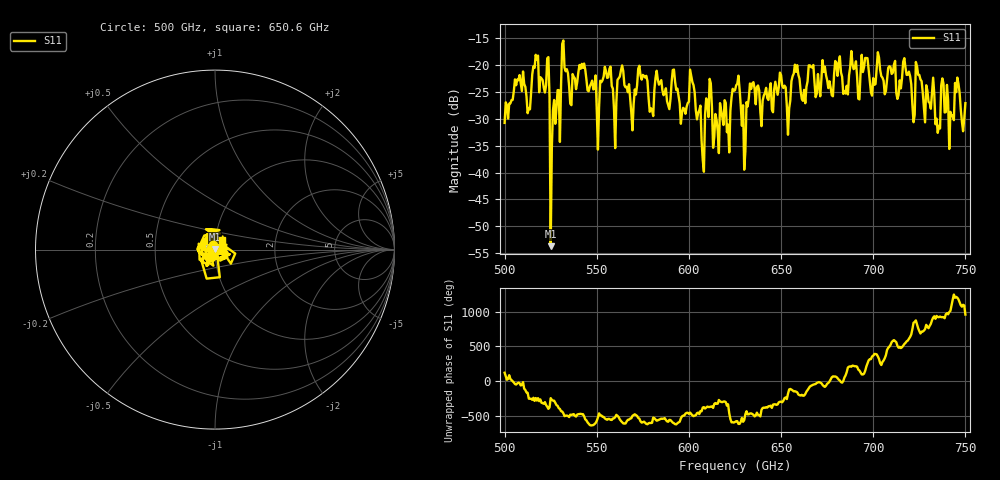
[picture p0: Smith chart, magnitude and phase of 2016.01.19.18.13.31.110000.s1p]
!Created with skrf (http://scikit-rf.org).
# GHz S RI R 50.0
!freq ReS11 ImS11
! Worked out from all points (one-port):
!   401 points, 500 GHz to 750 GHz, reference 50 ohm
!   lowest |S11| = -53.7 dB at 525 GHz (marker M1), VSWR 1.00, Z = 49.9 + j0.191 ohm
!   |S11| at or under -10 dB: start of sweep to end of sweep
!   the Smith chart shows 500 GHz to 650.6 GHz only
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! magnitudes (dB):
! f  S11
! 500 GHz  -30.8
! 506.9 GHz  -22.7
! 513.1 GHz  -28.0
! 516.9 GHz  -18.1
! 523.1 GHz  -18.8
! 525 GHz  -53.7
! 531.2 GHz  -16.1
! 550 GHz  -28.5
! 556.2 GHz  -22.3
! 559.4 GHz  -28.4
! 562.5 GHz  -22.2
! 569.4 GHz  -32.2
! 573.8 GHz  -22.0
! 579.4 GHz  -28.1
! 593.8 GHz  -24.4
! 601.9 GHz  -23.2
! 607.5 GHz  -37.6
! 610.6 GHz  -29.7
! 615 GHz  -30.2
! 625 GHz  -24.7
! 629.4 GHz  -27.5
! 634.4 GHz  -23.5
! 656.2 GHz  -22.1
! 687.5 GHz  -20.4
! 718.8 GHz  -21.8
! 735 GHz  -32.6
! 745.6 GHz  -22.4
! 750 GHz  -27.1
